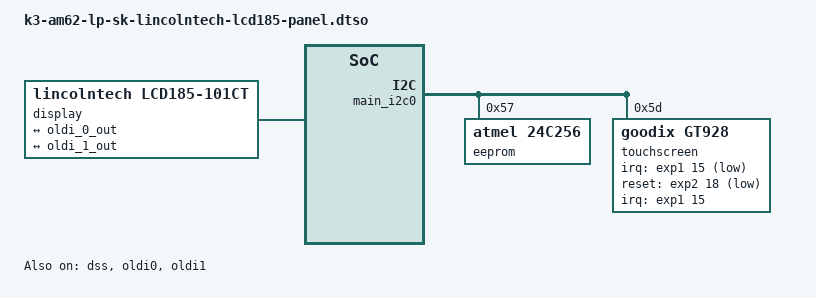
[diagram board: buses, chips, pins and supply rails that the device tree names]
// SPDX-License-Identifier: GPL-2.0-or-late OR MIT
/**
 * Lincoln tech Solutions OLDI panel (LCD185-101CT) and touch DT overlay for AM62-LP-SK
 *
 * AM62-LP SKEVM: https://www.ti.com/tool/SK-AM62-LP
 * Panel datasheet: https://lincolntechsolutions.com/wp-content/uploads/2023/04/LCD185-101CTL1ARNTT_DS_R1.3.pdf
 *
 * Copyright (C) 2024 Texas Instruments Incorporated - http://www.ti.com/
 */

/dts-v1/;
/plugin/;

#include <dt-bindings/gpio/gpio.h>
#include <dt-bindings/interrupt-controller/irq.h>

&{/} {
	display {
		compatible = "lincolntech,lcd185-101ct", "panel-simple";
		/*
		* Note that the OLDI TX 0 transmits the odd set of pixels
		* while the OLDI TX 1 transmits the even set. This is a
		* fixed configuration in the IP integration and is not
		* changeable. The properties, "dual-lvds-odd-pixels" and
		* "dual-lvds-even-pixels" have been used to merely
		* identify if a Dual Link configuration is required.
		* Swapping them will cause an error in the dss oldi driver.
		*/
		ports {
			#address-cells = <1>;
			#size-cells = <0>;

			port@0 {
				reg = <0>;
				dual-lvds-odd-pixels;
				lcd_in0: endpoint {
					remote-endpoint = <&oldi_0_out>;
				};
			};
			port@1 {
				reg = <1>;
				dual-lvds-even-pixels;
				lcd_in1: endpoint {
					remote-endpoint = <&oldi_1_out>;
				};
			};
		};
	};
};

&dss {
	status = "okay";
};

&oldi0 {
	status = "okay";
};

&oldi1 {
	status = "okay";
};

&oldi0_ports {
	#address-cells = <1>;
	#size-cells = <0>;

	port@0 {
		reg = <0>;
		oldi_0_in: endpoint {
			remote-endpoint = <&dpi0_out0>;
		};
	};

	port@1 {
		reg = <1>;
		oldi_0_out: endpoint {
			remote-endpoint = <&lcd_in0>;
		};
	};
};

&oldi1_ports {
	#address-cells = <1>;
	#size-cells = <0>;

	port@0 {
		reg = <0>;
		oldi_1_in: endpoint {
			remote-endpoint = <&dpi0_out1>;
		};
	};

	port@1 {
		reg = <1>;
		oldi_1_out: endpoint {
			remote-endpoint = <&lcd_in1>;
		};
	};
};

&dss_ports {
	#address-cells = <1>;
	#size-cells = <0>;

	/* VP1: Output to OLDI */
	port@0 {
		reg = <0>;
		#address-cells = <1>;
		#size-cells = <0>;

		dpi0_out0: endpoint@0 {
			reg = <0>;
			remote-endpoint = <&oldi_0_in>;
		};
		dpi0_out1: endpoint@1 {
			reg = <1>;
			remote-endpoint = <&oldi_1_in>;
		};
	};
};

&main_i2c0 {
	#address-cells = <1>;
	#size-cells = <0>;

	eeprom@57 {
		compatible = "atmel,24c256";
		reg = <0x57>;
	};

	touchscreen@5d {
		compatible = "goodix,gt928";
		reg = <0x5d>;
		interrupt-parent = <&exp1>;
		interrupts = <15 IRQ_TYPE_EDGE_FALLING>;
		irq-gpios = <&exp1 15 GPIO_ACTIVE_LOW>;
		reset-gpios = <&exp2 18 GPIO_ACTIVE_LOW>;
		touchscreen-size-x = <1920>;
		touchscreen-size-y = <1200>;
	};
};
